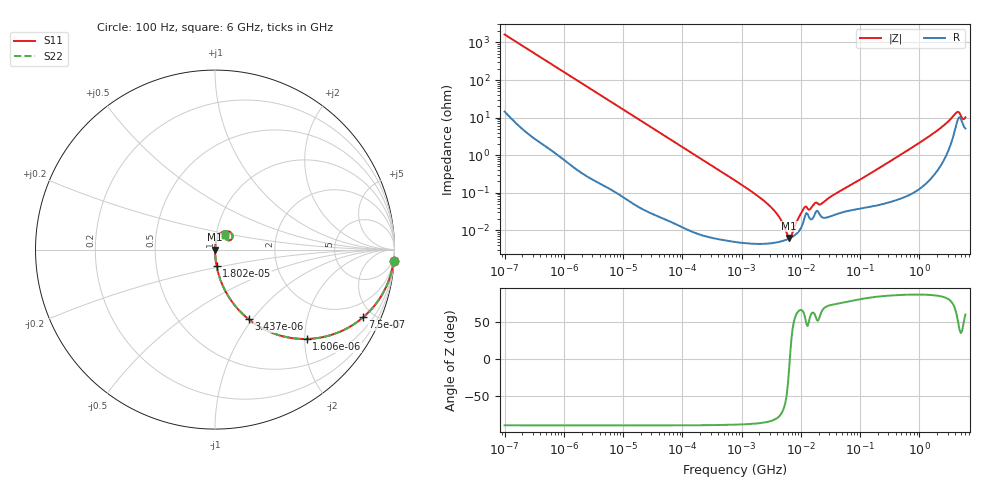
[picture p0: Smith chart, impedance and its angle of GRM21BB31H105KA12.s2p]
!Murata Part Number: GRM21BB31H105KA12
!These Parameters are Measured in Series Mode Connection
!Data Generated on Mar 30, 2021
!  o--ll--o
!Port1  Port2
!  o------o
!Operation Temp=25[degC], DC Bias Voltage=0[V]
!Freq. Start=100[Hz] Stop=6[GHz] 401[Steps]
# Hz S RI R 50
!Freq.(Hz) S11(Real) S11(Imag) S21(Real) S21(Imag) S12(Real) S12(Imag) S22(Real) S22(Imag)
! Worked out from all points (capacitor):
!   401 points, 100 Hz to 6 GHz, reference 50 ohm
!   read as one part in series: C = 977 nF near 109 Hz
!   lowest |Z| = 6.21 mohm at 6.353 MHz (marker M1)
!   series resonance near 6.528 MHz, so ESL is about 610 pH
!   S11 on the Smith chart (normalised r, x): 100 Hz: 1, -33; 750 Hz: 1.02, -4.36; 1.606 kHz: 1.01, -2.04; 3.437 kHz: 1.00, -0.96; 18.02 kHz: 1.00, -0.18; 6 GHz: 1.10, +0.18
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100  0.9957 -0.0612  0.0043 0.0612  0.0043 0.0612  0.9957 -0.0612
350  0.955 -0.2047  0.045 0.2047  0.045 0.2047  0.955 -0.2047
750  0.8251 -0.3774  0.1749 0.3774  0.1749 0.3774  0.8251 -0.3774
1606  0.5103 -0.4978  0.4897 0.4978  0.4897 0.4978  0.5103 -0.4978
2008  0.4004 -0.488  0.5996 0.488  0.5996 0.488  0.4004 -0.488
3437  0.1868 -0.3876  0.8132 0.3876  0.8132 0.3876  0.1868 -0.3876
6728  0.0574 -0.2302  0.9426 0.2302  0.9426 0.2302  0.0574 -0.2302
18016  0.00872 -0.0907  0.9913 0.0907  0.9913 0.0907  0.00872 -0.0907
40335  0.0019 -0.0409  0.9981 0.0409  0.9981 0.0409  0.0019 -0.0409
774597  5.35e-05 -0.00212  0.9999 0.00212  0.9999 0.00212  5.35e-05 -0.00212
2837864  4.47e-05 -0.00048  1 0.00048  1 0.00048  4.47e-05 -0.00048
4060267  4.82e-05 -0.000255  1 0.000255  1 0.000255  4.82e-05 -0.000255
5554849  5.54e-05 -8.46e-05  0.9999 8.46e-05  0.9999 8.46e-05  5.54e-05 -8.46e-05
6353432  6.05e-05 -1.42e-05  0.9999 1.42e-05  0.9999 1.42e-05  6.05e-05 -1.42e-05
7599586  7.1e-05 8.2e-05  0.9999 -8.2e-05  0.9999 -8.2e-05  7.1e-05 8.2e-05
1.137099e7  0.000194 0.000344  0.9998 -0.000344  0.9998 -0.000344  0.000194 0.000344
1.555665e7  0.0002 0.00038  0.9998 -0.00038  0.9998 -0.00038  0.0002 0.00038
2.225763e7  0.00023 0.000452  0.9998 -0.000452  0.9998 -0.000452  0.00023 0.000452
3.124326e8  0.000601 0.00665  0.9994 -0.00665  0.9994 -0.00665  0.000601 0.00665
1.791126e9  0.00456 0.0392  0.9954 -0.0392  0.9954 -0.0392  0.00456 0.0392
4.193612e9  0.0704 0.1036  0.9296 -0.1036  0.9296 -0.1036  0.0704 0.1036
6e9  0.0553 0.0789  0.9447 -0.0789  0.9447 -0.0789  0.0553 0.0789
